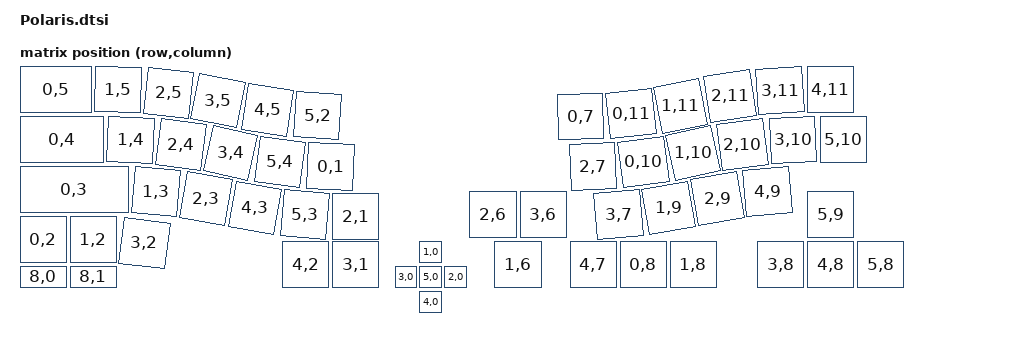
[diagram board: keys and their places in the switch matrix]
#include "Polaris_pins.dtsi"
#include <dt-bindings/polaris/module_select.h>
#include <dt-bindings/zmk/matrix_transform.h>
#include <dt-bindings/zmk/input_module.h>
#include <physical_layouts.dtsi>
#include <behaviors/rgbled_widget.dtsi>

/ {
	chosen {
		zmk,physical-layout = &layout_Polaris;
      zmk,battery = &vbatt;
      // zephyr,boot-mode = &boot_mode0;
	};

   // bootloader_trigger: bootloader_trigger {
   //    compatible = "zmk,cdc-acm-bootloader-trigger";
   //    cdc-port = <&snippet_zmk_usb_logging_uart>;
   // };

   behaviors {
      polaris_mod: polaris_module_select {
         compatible = "zmk,behavior-input-module-select";
         #binding-cells = <1>;
         display-name = "Polaris Module Select";
      };
   };

   polaris_module_mux: module_mux {
      compatible = "zmk,input-module-mux";
      status = "okay";
      settings-key = "polaris/module";
      default-profile = <POLARIS_MODULE_UNSPECIFIED>;

      profile_unspecified {
         profile-id = <POLARIS_MODULE_UNSPECIFIED>;
         display-name = "UNSPECIFIED";
      };

      profile_encoder {
         profile-id = <POLARIS_MODULE_ENC>;
         display-name = "ENC";
         capabilities = <ZMK_INPUT_MODULE_CAP_ENCODER>;
      };

      profile_joystick {
         profile-id = <POLARIS_MODULE_JOY>;
         display-name = "JOY";
         capabilities = <(ZMK_INPUT_MODULE_CAP_ADC | ZMK_INPUT_MODULE_CAP_ENCODER)>;
      };

      profile_trackball {
         profile-id = <POLARIS_MODULE_TB>;
         display-name = "TB";
         capabilities = <ZMK_INPUT_MODULE_CAP_SPI>;
      };

      profile_touchpad {
         profile-id = <POLARIS_MODULE_TPD>;
         display-name = "TPD";
         capabilities = <ZMK_INPUT_MODULE_CAP_I2C>;
      };

      profile_iqs {
         profile-id = <POLARIS_MODULE_IQS>;
         display-name = "IQS";
         capabilities = <ZMK_INPUT_MODULE_CAP_I2C>;
      };
   };

	default_transform: keymap_transform_0 {
		compatible = "zmk,matrix-transform";
		columns = <12>;
		rows = <6>;
		
		map = <
		RC( 0, 5)  RC( 1, 5)  RC( 2, 5)  RC( 3, 5)  RC( 4, 5)  RC( 5, 2)     RC( 0, 7)  RC( 0, 11)  RC( 1, 11)  RC( 2, 11)  RC( 3, 11)  RC( 4, 11)  
		RC( 0, 4)  RC( 1, 4)  RC( 2, 4)  RC( 3, 4)  RC( 5, 4)  RC( 0, 1)     RC( 2, 7)  RC( 0, 10)  RC( 1, 10)  RC( 2, 10)  RC( 3, 10)  RC( 5, 10)  
		RC( 0, 3)  RC( 1, 3)  RC( 2, 3)  RC( 4, 3)  RC( 5, 3)  RC( 2, 1)                RC( 3,  7)  RC( 1,  9)  RC( 2,  9)  RC( 4,  9)  RC( 5,  9)  
		RC( 0, 2)  RC( 1, 2)  RC( 3, 2)             RC( 4, 2)  RC( 3, 1)     RC( 4, 7)  RC( 0,  8)  RC( 1,  8)  RC( 3,  8)  RC( 4,  8)  RC( 5,  8)
                 RC( 3, 0)  RC( 1, 0)  RC( 5, 0)  RC( 4, 0)  RC( 2, 0)     RC( 1, 6)  RC( 2,  6)  RC( 3,  6)
                 RC( 8, 0)  RC( 8, 1)
      >;
	};

	layout_Polaris: layout_Polaris {
		compatible = "zmk,physical-layout";
		display-name = "Polaris";
		transform = <&default_transform>;
		kscan = <&kscan0>;
		
        keys  //                     w   h    x    y     rot    rx    ry
            = <&key_physical_attrs 150 100    0  100       0     0     0>
            , <&key_physical_attrs 100 100  150  100     125   200   150>
            , <&key_physical_attrs 100 100  251  107     625   301   157>
            , <&key_physical_attrs 100 100  350  122    1125   400   172>
            , <&key_physical_attrs 100 100  449  141     875   499   191>
            , <&key_physical_attrs 100 100  549  152     375   599   202>
            , <&key_physical_attrs 100 100 1075  154  (-125)  1125   204>
            , <&key_physical_attrs 100 100 1176  148  (-625)  1226   198>
            , <&key_physical_attrs 100 100 1275  133 (-1125)  1325   183>
            , <&key_physical_attrs 100 100 1374  113  (-875)  1424   163>
            , <&key_physical_attrs 100 100 1474  102  (-375)  1524   152>
            , <&key_physical_attrs 100 100 1575  100       0   425     0>
            , <&key_physical_attrs 175 100    0  200       0     0     0>
            , <&key_physical_attrs 100 100  175  201     250   225   251>
            , <&key_physical_attrs 100 100  276  210     750   326   260>
            , <&key_physical_attrs 100 100  375  227    1250   425   277>
            , <&key_physical_attrs 100 100  474  245     750   524   295>
            , <&key_physical_attrs 100 100  575  254     250   625   304>
            , <&key_physical_attrs 100 100 1100  254  (-250)  1150   304>
            , <&key_physical_attrs 100 100 1201  245  (-750)  1251   295>
            , <&key_physical_attrs 100 100 1300  227 (-1250)  1350   277>
            , <&key_physical_attrs 100 100 1399  210  (-750)  1449   260>
            , <&key_physical_attrs 100 100 1500  201  (-250)  1550   251>
            , <&key_physical_attrs 100 100 1600  200       0   425     0>
            , <&key_physical_attrs 225 100    0  300       0     0     0>
            , <&key_physical_attrs 100 100  226  304     500   276   354>
            , <&key_physical_attrs 100 100  326  318    1000   376   368>
            , <&key_physical_attrs 100 100  424  337    1000   474   387>
            , <&key_physical_attrs 100 100  524  350     500   574   400>
            , <&key_physical_attrs 100 100  625  355       0     0     0>
            , <&key_physical_attrs 100 100 1151  350  (-500)  1201   400>
            , <&key_physical_attrs 100 100 1251  337 (-1000)  1301   387>
            , <&key_physical_attrs 100 100 1349  318 (-1000)  1399   368>
            , <&key_physical_attrs 100 100 1449  304  (-500)  1499   354>
            , <&key_physical_attrs 100 100 1575  350       0   425 (-25)>
            , <&key_physical_attrs 100 100    0  400       0     0     0>
            , <&key_physical_attrs 100 100  100  400       0     0     0>
            , <&key_physical_attrs 100 100  203  415     700   316   459>
            , <&key_physical_attrs 100 100  525  450       0    75 (-25)>
            , <&key_physical_attrs 100 100  625  450       0    75 (-25)>
            , <&key_physical_attrs 100 100 1100  450       0   425 (-25)>
            , <&key_physical_attrs 100 100 1200  450       0   425 (-25)>
            , <&key_physical_attrs 100 100 1300  450       0   425 (-25)>
            , <&key_physical_attrs 100 100 1475  450       0   425 (-25)>
            , <&key_physical_attrs 100 100 1575  450       0   425 (-25)>
            , <&key_physical_attrs 100 100 1675  450       0   425 (-25)>
            
            , <&key_physical_attrs  50  50  750  500       0     0     0>
            , <&key_physical_attrs  50  50  800  450       0     0     0>
            , <&key_physical_attrs  50  50  800  500       0     0     0>
            , <&key_physical_attrs  50  50  800  550       0     0     0>
            , <&key_physical_attrs  50  50  850  500       0     0     0>

            , <&key_physical_attrs 100 100  950  450       0 (-200) (-25)>
            , <&key_physical_attrs 100 100  900  350       0 (-150) (-25)>
            , <&key_physical_attrs 100 100 1000  350       0 (-150) (-25)>

            , <&key_physical_attrs 100  50    0  500       0     0     0>
            , <&key_physical_attrs 100  50  100  500       0     0     0>
            ;
	};

   position_map {
      compatible = "zmk,physical-layout-position-map";

      layout_Polaris {
         physical-layout = <&layout_Polaris>;
         positions = <>;
      };
   };


	analog_stick_layout: analog_stick_layout {
		compatible = "zmk,physical-layout-custom-module";
		display-name = "Analog Stick";
		type = "analog-stick";
		width = <100>;
		height = <100>;
		x = <350>;
		y = <450>;
		linked-device-identifiers = "analog_input_0";
		linked-subsystems = "dya__studio";
	};

	trackball_layout: trackball_layout {
		compatible = "zmk,physical-layout-trackball";
		display-name = "Trackball";
		size = <120>;
		x = <930>;
		y = <160>;
		linked-device-identifiers = "trackball";
		linked-subsystems = "zmk__trackball";
	};

	oled_layout: oled_layout {
		compatible = "zmk,physical-layout-custom-module";
		display-name = "OLED";
		type = "display";
		width = <70>;
		height = <220>;
		x = <750>;
		y = <200>;
		linked-device-identifiers = "oled";
		linked-subsystems = "zmk__display";
	};

   aliases {
      led-red = &led0;
      led-green = &led1;
      led-blue = &led2;
   };

   leds {
      compatible = "gpio-leds";
      status = "okay";
      led0: led_0 {
        gpios = LED_RED_GPIOS;  // red LED, connected to P0.26
      };
      led1: led_1 {
        gpios = LED_GREEN_GPIOS;  // green LED, connected to P0.30
      };
      led2: led_2 {
        gpios = LED_BLUE_GPIOS;  // blue LED, connected to P0.06
      };
   };
   
   // Encoders
   left_encoder: left_encoder {
      compatible = "alps,ec11";
      status = "disabled";
   };

   sensors: sensors {
      compatible = "zmk,keymap-sensors";
      sensors = <&left_encoder>;
   };

   vbatt: vbatt {
      io-channels = BATTERY_CHANNEL;
      power-gpios; // unset
      output-ohms = <470000>;
      full-ohms = <(1000000 + 470000)>;
      // For Ni-Mh 1U
      mv-to-pct-thresholds = <1100 1150 1200 1220 1240 1260 1280 1300 1320 1350 1400>;
   };
};

&adc {
   status = "okay";
};

// &gpregret1 {
//    status = "okay";

//    boot_mode0: boot_mode@0 {
//       compatible = "zephyr,retention";
//       status = "okay";
//       reg = <0x0 0x1>;
//    };
// };

// &zephyr_udc0 {
//     snippet_bootloader_trigger_uart: snippet_bootloader_trigger_uart {
//         compatible = "zephyr,cdc-acm-uart";
//     };
// };
